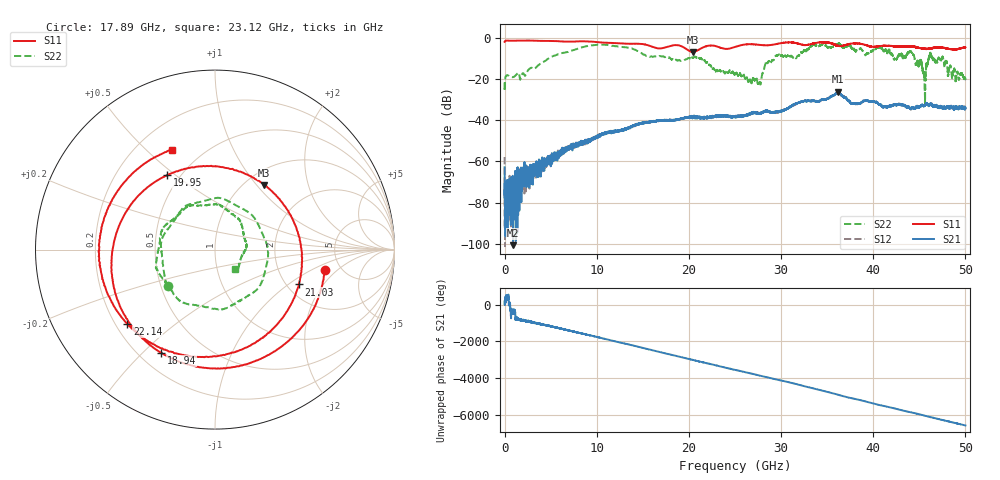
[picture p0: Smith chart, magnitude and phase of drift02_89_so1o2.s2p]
!Created with skrf (http://scikit-rf.org).
# Hz S RI R 50.0
!freq ReS11 ImS11 ReS21 ImS21 ReS12 ImS12 ReS22 ImS22
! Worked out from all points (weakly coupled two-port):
!   10001 points, 300 kHz to 50 GHz, reference 50 ohm
!   highest |S21| = -26.19 dB at 36.13 GHz (marker M1); lowest = -100.8 dB at 915.3 MHz (marker M2)
!   lowest |S11| = -6.9 dB at 20.45 GHz (marker M3), VSWR 2.64, Z = 60.9 + j54.7 ohm
!   |S11| at or under -10 dB: nowhere
!   |S22| runs from -32.1 to -2.7 dB; largest |S21 - S12| = 0.005
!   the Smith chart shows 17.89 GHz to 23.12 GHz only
!   S11 on the Smith chart (normalised r, x): 17.89 GHz: 3.73, -1.40; 18.94 GHz: 0.29, -0.57; 19.95 GHz: 0.43, +0.47; 21.03 GHz: 2.31, -1.20; 22.14 GHz: 0.25, -0.35; 23.12 GHz: 0.34, +0.60
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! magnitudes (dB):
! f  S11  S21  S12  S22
! 300 kHz  -2.1  -62.8  -57.9  -21.7
! 265.3 MHz  -1.4  -78.3  -76.6  -18.2
! 915.3 MHz  -1.5  -100.8  -83.8  -19.1
! 8.335 GHz  -1.7  -50.5  -50.7  -4.7
! 16.67 GHz  -5.2  -40.2  -40.4  -9.0
! 17.89 GHz  -4.1  -40.2  -40.0  -9.6
! 18.94 GHz  -3.8  -39.7  -39.5  -10.8
! 19.95 GHz  -6.1  -38.5  -38.6  -9.9
! 20.45 GHz  -6.9  -38.3  -38.1  -9.8
! 21.03 GHz  -5.9  -38.4  -38.3  -9.5
! 22.14 GHz  -3.9  -38.6  -38.6  -12.8
! 23.12 GHz  -4.3  -37.8  -37.8  -16.2
! 25 GHz  -4.5  -38.3  -38.2  -17.8
! 27.63 GHz  -3.5  -36.8  -36.6  -21.3
! 29.54 GHz  -3.0  -36.0  -36.0  -8.7
! 33.34 GHz  -3.1  -30.6  -30.6  -3.8
! 36.13 GHz  -3.9  -26.2  -26.9  -3.1
! 41.67 GHz  -3.9  -33.3  -33.3  -6.2
! 44.15 GHz  -4.1  -34.4  -34.4  -7.1
! 45.51 GHz  -5.3  -33.0  -33.0  -17.6
! 46.28 GHz  -5.2  -32.1  -32.4  -8.8
! 50 GHz  -4.7  -34.1  -34.0  -19.7
